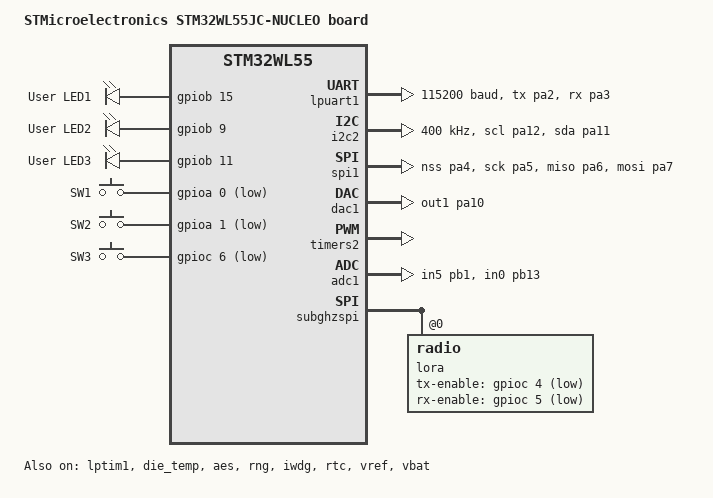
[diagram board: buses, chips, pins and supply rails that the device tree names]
/*
 * Copyright (c) 2020-2024 STMicroelectronics
 *
 * SPDX-License-Identifier: Apache-2.0
 */

/dts-v1/;
#include <st/wl/stm32wl55Xc.dtsi>
#include <st/wl/stm32wl55jcix-pinctrl.dtsi>
#include "arduino_r3_connector.dtsi"
#include "st_morpho_connector.dtsi"
#include <zephyr/dt-bindings/input/input-event-codes.h>

/ {
	model = "STMicroelectronics STM32WL55JC-NUCLEO board";
	compatible = "st,stm32wl55-nucleo";

	chosen {
		zephyr,console = &lpuart1;
		zephyr,shell-uart = &lpuart1;
		zephyr,sram = &sram0;
		zephyr,flash = &flash0;
		zephyr,code-partition = &slot0_partition;
	};

	leds: leds {
		compatible = "gpio-leds";
		blue_led_1: led_0 {
			gpios = <&gpiob 15 GPIO_ACTIVE_HIGH>;
			label = "User LED1";
		};
		green_led_2: led_1 {
			gpios = <&gpiob 9 GPIO_ACTIVE_HIGH>;
			label = "User LED2";
		};
		green_led_3: led_2 {
			gpios = <&gpiob 11 GPIO_ACTIVE_HIGH>;
			label = "User LED3";
		};
	};

	gpio_keys {
		compatible = "gpio-keys";
		user_button_1: button_0 {
			label = "SW1";
			gpios = <&gpioa 0 (GPIO_ACTIVE_LOW | GPIO_PULL_UP)>;
			zephyr,code = <INPUT_KEY_0>;
		};
		user_button_2: button_1 {
			label = "SW2";
			gpios = <&gpioa 1 (GPIO_ACTIVE_LOW | GPIO_PULL_UP)>;
			zephyr,code = <INPUT_KEY_1>;
		};
		user_button_3: button_2 {
			label = "SW3";
			gpios = <&gpioc 6 (GPIO_ACTIVE_LOW | GPIO_PULL_UP)>;
			zephyr,code = <INPUT_KEY_2>;
		};
	};

	aliases {
		led0 = &green_led_2;
		sw0 = &user_button_1;
		sw1 = &user_button_2;
		sw2 = &user_button_3;
		lora0 = &lora;
		watchdog0 = &iwdg;
		die-temp0 = &die_temp;
		volt-sensor0 = &vref;
		volt-sensor1 = &vbat;
	};
};

&clk_lsi {
	status = "okay";
};

stm32_lp_tick_source: &lptim1 {
	clocks = <&rcc STM32_CLOCK_BUS_APB1 0x80000000>,
		 <&rcc STM32_SRC_LSI LPTIM1_SEL(1)>;
	status = "okay";
};

&clk_hsi {
	status = "okay";
};

&clk_lse {
	status = "okay";
};

&pll {
	div-m = <1>;
	mul-n = <6>;
	div-r = <2>;
	div-q = <2>;
	clocks = <&clk_hsi>;
	status = "okay";
};

&rcc {
	clocks = <&pll>;
	clock-frequency = <DT_FREQ_M(48)>;
	cpu1-prescaler = <1>;
	cpu2-prescaler = <1>;
	ahb3-prescaler = <1>;
	apb1-prescaler = <1>;
	apb2-prescaler = <1>;
};

&lpuart1 {
	pinctrl-0 = <&lpuart1_tx_pa2 &lpuart1_rx_pa3>;
	pinctrl-names = "default";
	current-speed = <115200>;
	status = "okay";
};

&i2c2 {
	pinctrl-0 = <&i2c2_scl_pa12 &i2c2_sda_pa11>;
	pinctrl-names = "default";
	status = "okay";
	clock-frequency = <I2C_BITRATE_FAST>;
};

&spi1 {
	pinctrl-0 = <&spi1_nss_pa4 &spi1_sck_pa5
		     &spi1_miso_pa6 &spi1_mosi_pa7>;
	pinctrl-names = "default";
	status = "okay";
};


&dac1 {
	pinctrl-0 = <&dac_out1_pa10>;
	pinctrl-names = "default";
	status = "okay";
};

&timers2 {
	status = "okay";
	pwm2: pwm {
		status = "okay";
		pinctrl-0 = <&tim2_ch4_pb11>;
		pinctrl-names = "default";
	};
};


&adc1 {
	pinctrl-0 = <&adc_in5_pb1 &adc_in0_pb13>;
	pinctrl-names = "default";
	st,adc-clock-source = <SYNC>;
	st,adc-prescaler = <4>;
	status = "okay";
};

&die_temp {
	status = "okay";
};

&aes {
	status = "okay";
};

&rng {
	status = "okay";
};

&iwdg {
	status = "okay";
};

&subghzspi {
	status = "okay";
	lora: radio@0 {
		status = "okay";
		tx-enable-gpios = <&gpioc 4 GPIO_ACTIVE_LOW>; /* FE_CTRL1 */
		rx-enable-gpios = <&gpioc 5 GPIO_ACTIVE_LOW>; /* FE_CTRL2 */
		dio3-tcxo-voltage = <SX126X_DIO3_TCXO_1V7>;
		tcxo-power-startup-delay-ms = <5>;
		/* High-power output is selected as a consequence of using
		 * tx/rx-enable-gpio to control FE_CTRL1 and FE_CTRL2. Low-power
		 * output would require both FE_CTRL1 and FE_CTRL2 to be high,
		 * which is not currently supported by the driver.
		 */
		power-amplifier-output = "rfo-hp";
		rfo-lp-max-power = <15>;
		rfo-hp-max-power = <22>;
	};
};

&flash0 {
	partitions {
		compatible = "fixed-partitions";
		#address-cells = <1>;
		#size-cells = <1>;

		boot_partition: partition@0 {
			label = "mcuboot";
			reg = <0x00000000 DT_SIZE_K(32)>;
			read-only;
		};
		slot0_partition: partition@8000 {
			label = "image-0";
			reg = <0x00008000 DT_SIZE_K(104)>;
		};
		slot1_partition: partition@22000 {
			label = "image-1";
			reg = <0x00022000 DT_SIZE_K(104)>;
		};

		/*
		 * Set 16kB of storage (8x2kB pages) at the end of the 256kB of
		 * flash.
		 */
		storage_partition: partition@3c000 {
			label = "storage";
			reg = <0x0003c000 DT_SIZE_K(16)>;
		};
	};
};

&rtc {
	clocks = <&rcc STM32_CLOCK_BUS_APB1 0x00000400>,
		 <&rcc STM32_SRC_LSE RTC_SEL(1)>;
	status = "okay";
};

&vref {
	status = "okay";
};

&vbat {
	status = "okay";
};
